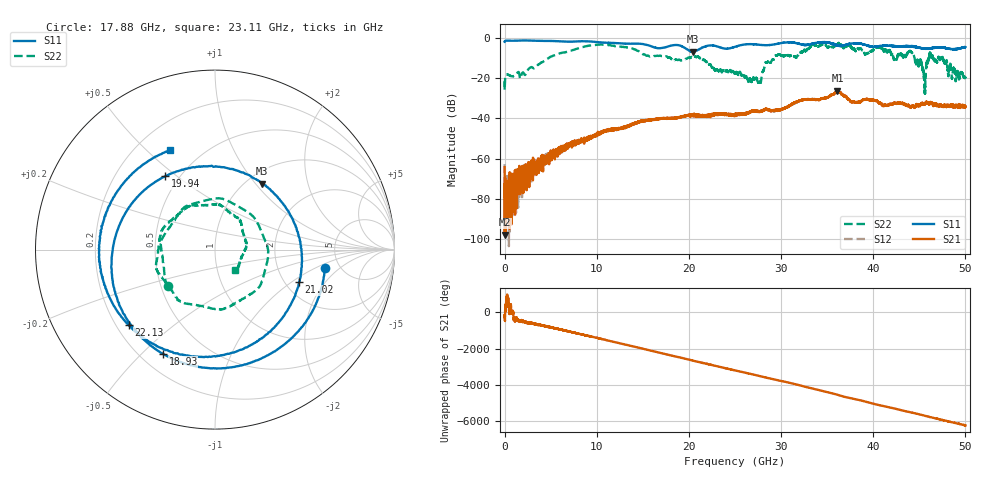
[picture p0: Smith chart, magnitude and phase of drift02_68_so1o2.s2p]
!Created with skrf (http://scikit-rf.org).
# Hz S RI R 50.0
!freq ReS11 ImS11 ReS21 ImS21 ReS12 ImS12 ReS22 ImS22
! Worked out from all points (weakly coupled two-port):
!   10001 points, 300 kHz to 50 GHz, reference 50 ohm
!   highest |S21| = -26.23 dB at 36.12 GHz (marker M1); lowest = -97.9 dB at 20.3 MHz (marker M2)
!   lowest |S11| = -6.9 dB at 20.44 GHz (marker M3), VSWR 2.65, Z = 58.5 + j54.1 ohm
!   |S11| at or under -10 dB: nowhere
!   |S22| runs from -27.8 to -2.5 dB; largest |S21 - S12| = 0.0055
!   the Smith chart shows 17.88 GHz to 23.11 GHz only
!   S11 on the Smith chart (normalised r, x): 17.88 GHz: 3.83, -1.26; 18.93 GHz: 0.29, -0.58; 19.94 GHz: 0.42, +0.46; 21.02 GHz: 2.37, -1.15; 22.13 GHz: 0.25, -0.35; 23.11 GHz: 0.34, +0.59
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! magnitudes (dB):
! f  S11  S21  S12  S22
! 300 kHz  -2.0  -64.3  -62.8  -21.5
! 20.3 MHz  -1.9  -97.9  -86.2  -24.1
! 305.3 MHz  -1.4  -83.2  -76.5  -18.1
! 8.335 GHz  -1.7  -50.7  -50.5  -4.7
! 16.67 GHz  -5.2  -40.3  -40.4  -9.0
! 17.88 GHz  -4.1  -40.1  -40.1  -9.6
! 18.93 GHz  -3.8  -39.6  -39.7  -10.8
! 19.94 GHz  -6.1  -38.6  -38.6  -9.8
! 20.44 GHz  -6.9  -38.2  -38.3  -9.8
! 21.02 GHz  -6.0  -39.0  -38.8  -9.4
! 22.13 GHz  -3.9  -38.4  -38.5  -12.7
! 23.11 GHz  -4.3  -38.0  -38.1  -16.0
! 25 GHz  -4.5  -38.3  -38.1  -17.8
! 27.62 GHz  -3.5  -36.6  -36.7  -21.7
! 29.55 GHz  -3.0  -36.3  -36.1  -8.8
! 33.34 GHz  -3.0  -30.6  -30.6  -3.8
! 36.12 GHz  -3.9  -26.2  -26.9  -3.3
! 41.67 GHz  -3.9  -33.2  -33.4  -6.2
! 44.12 GHz  -4.2  -34.6  -34.5  -7.1
! 45.5 GHz  -5.3  -32.9  -32.9  -18.2
! 46.27 GHz  -5.2  -32.4  -32.1  -9.0
! 50 GHz  -4.7  -34.2  -34.3  -20.0
